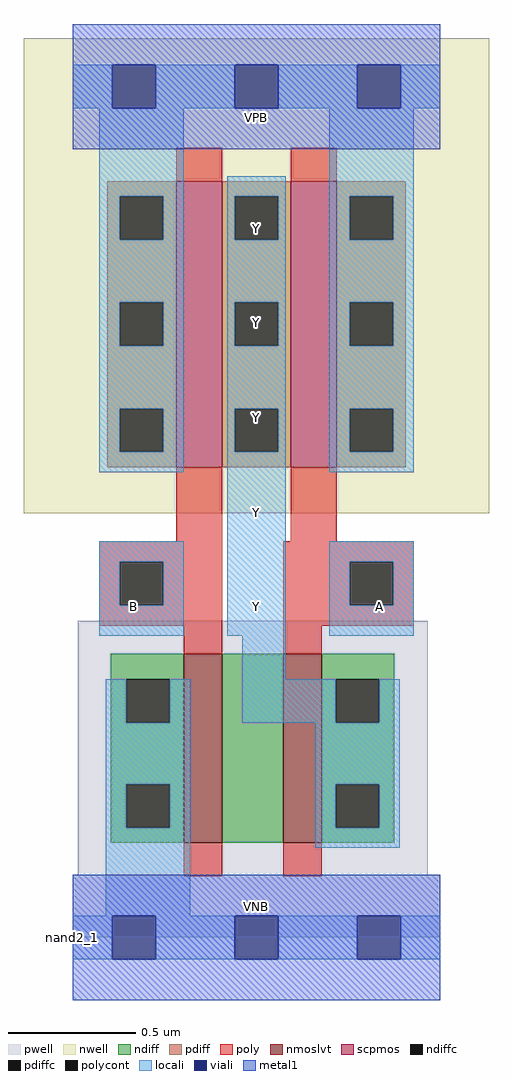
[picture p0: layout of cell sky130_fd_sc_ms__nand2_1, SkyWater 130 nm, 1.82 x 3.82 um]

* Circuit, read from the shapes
.subckt sky130_fd_sc_ms__nand2_1 A B VGND VNB VPB VPWR Y
XM1 n1 B VGND VNB sky130_fd_pr__nfet_01v8_lvt w=0.74 l=0.15
XM2 Y A n1 VNB sky130_fd_pr__nfet_01v8_lvt w=0.74 l=0.15
XM3 Y B VPWR VPB sky130_fd_pr__pfet_01v8 w=1.12 l=0.18
XM4 VPWR A Y VPB sky130_fd_pr__pfet_01v8 w=1.12 l=0.18
.ends

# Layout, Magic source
magic
tech sky130A
magscale 1 2
<< nwell >>
rect -38 332 326 704
<< pwell >>
rect 4 49 278 248
rect 0 0 288 49
<< scpmos >>
rect 81 368 117 592
rect 171 368 207 592
<< nmoslvt >>
rect 87 74 117 222
rect 165 74 195 222
<< ndiff >>
rect 30 202 87 222
rect 30 168 42 202
rect 76 168 87 202
rect 30 120 87 168
rect 30 86 42 120
rect 76 86 87 120
rect 30 74 87 86
rect 117 74 165 222
rect 195 202 252 222
rect 195 168 206 202
rect 240 168 252 202
rect 195 120 252 168
rect 195 86 206 120
rect 240 86 252 120
rect 195 74 252 86
<< pdiff >>
rect 27 580 81 592
rect 27 546 37 580
rect 71 546 81 580
rect 27 497 81 546
rect 27 463 37 497
rect 71 463 81 497
rect 27 414 81 463
rect 27 380 37 414
rect 71 380 81 414
rect 27 368 81 380
rect 117 580 171 592
rect 117 546 127 580
rect 161 546 171 580
rect 117 497 171 546
rect 117 463 127 497
rect 161 463 171 497
rect 117 414 171 463
rect 117 380 127 414
rect 161 380 171 414
rect 117 368 171 380
rect 207 580 261 592
rect 207 546 217 580
rect 251 546 261 580
rect 207 497 261 546
rect 207 463 217 497
rect 251 463 261 497
rect 207 414 261 463
rect 207 380 217 414
rect 251 380 261 414
rect 207 368 261 380
<< ndiffc >>
rect 42 168 76 202
rect 42 86 76 120
rect 206 168 240 202
rect 206 86 240 120
<< pdiffc >>
rect 37 546 71 580
rect 37 463 71 497
rect 37 380 71 414
rect 127 546 161 580
rect 127 463 161 497
rect 127 380 161 414
rect 217 546 251 580
rect 217 463 251 497
rect 217 380 251 414
<< poly >>
rect 81 592 117 618
rect 171 592 207 618
rect 81 310 117 368
rect 171 310 207 368
rect 21 294 117 310
rect 21 260 37 294
rect 71 260 117 294
rect 21 244 117 260
rect 87 222 117 244
rect 165 294 267 310
rect 165 260 217 294
rect 251 260 267 294
rect 165 244 267 260
rect 165 222 195 244
rect 87 48 117 74
rect 165 48 195 74
<< polycont >>
rect 37 260 71 294
rect 217 260 251 294
<< locali >>
rect 0 649 31 683
rect 65 649 127 683
rect 161 649 223 683
rect 257 649 288 683
rect 21 580 87 649
rect 21 546 37 580
rect 71 546 87 580
rect 21 497 87 546
rect 21 463 37 497
rect 71 463 87 497
rect 21 414 87 463
rect 21 380 37 414
rect 71 380 87 414
rect 21 364 87 380
rect 121 580 167 596
rect 121 546 127 580
rect 161 546 167 580
rect 121 497 167 546
rect 121 463 127 497
rect 161 463 167 497
rect 121 414 167 463
rect 121 380 127 414
rect 161 380 167 414
rect 21 294 87 310
rect 21 260 37 294
rect 71 260 87 294
rect 21 236 87 260
rect 121 236 167 380
rect 201 580 267 649
rect 201 546 217 580
rect 251 546 267 580
rect 201 497 267 546
rect 201 463 217 497
rect 251 463 267 497
rect 201 414 267 463
rect 201 380 217 414
rect 251 380 267 414
rect 201 364 267 380
rect 201 294 267 310
rect 201 260 217 294
rect 251 260 267 294
rect 201 236 267 260
rect 133 202 167 236
rect 26 168 42 202
rect 76 168 92 202
rect 133 168 206 202
rect 240 168 256 202
rect 26 120 92 168
rect 26 86 42 120
rect 76 86 92 120
rect 26 17 92 86
rect 190 120 256 168
rect 190 86 206 120
rect 240 86 256 120
rect 190 70 256 86
rect 0 -17 31 17
rect 65 -17 127 17
rect 161 -17 223 17
rect 257 -17 288 17
<< viali >>
rect 31 649 65 683
rect 127 649 161 683
rect 223 649 257 683
rect 31 -17 65 17
rect 127 -17 161 17
rect 223 -17 257 17
<< metal1 >>
rect 0 683 288 715
rect 0 649 31 683
rect 65 649 127 683
rect 161 649 223 683
rect 257 649 288 683
rect 0 617 288 649
rect 0 17 288 49
rect 0 -17 31 17
rect 65 -17 127 17
rect 161 -17 223 17
rect 257 -17 288 17
rect 0 -49 288 -17
<< labels >>
flabel pwell s 0 0 288 49 0 FreeSans 200 0 0 0 VNB
port 4 nsew ground bidirectional
flabel nwell s 0 617 288 666 0 FreeSans 200 0 0 0 VPB
port 5 nsew power bidirectional
rlabel comment s 0 0 0 0 4 nand2_1
flabel metal1 s 0 617 288 666 0 FreeSans 340 0 0 0 VPWR
port 6 nsew power bidirectional
flabel metal1 s 0 0 288 49 0 FreeSans 340 0 0 0 VGND
port 3 nsew ground bidirectional
flabel locali s 31 242 65 276 0 FreeSans 340 0 0 0 B
port 2 nsew signal input
flabel locali s 127 242 161 276 0 FreeSans 340 0 0 0 Y
port 7 nsew signal output
flabel locali s 127 316 161 350 0 FreeSans 340 0 0 0 Y
port 7 nsew signal output
flabel locali s 127 390 161 424 0 FreeSans 340 0 0 0 Y
port 7 nsew signal output
flabel locali s 127 464 161 498 0 FreeSans 340 0 0 0 Y
port 7 nsew signal output
flabel locali s 127 538 161 572 0 FreeSans 340 0 0 0 Y
port 7 nsew signal output
flabel locali s 223 242 257 276 0 FreeSans 340 0 0 0 A
port 1 nsew signal input
<< properties >>
string LEFsite unit
string LEFclass CORE
string FIXED_BBOX 0 0 288 666
string GDS_FILE $PDKPATH/libs.ref/sky130_fd_sc_ms/gds/sky130_fd_sc_ms.gds
string LEFsymmetry X Y
string GDS_END 3710236
string GDS_START 3706044
<< end >>
